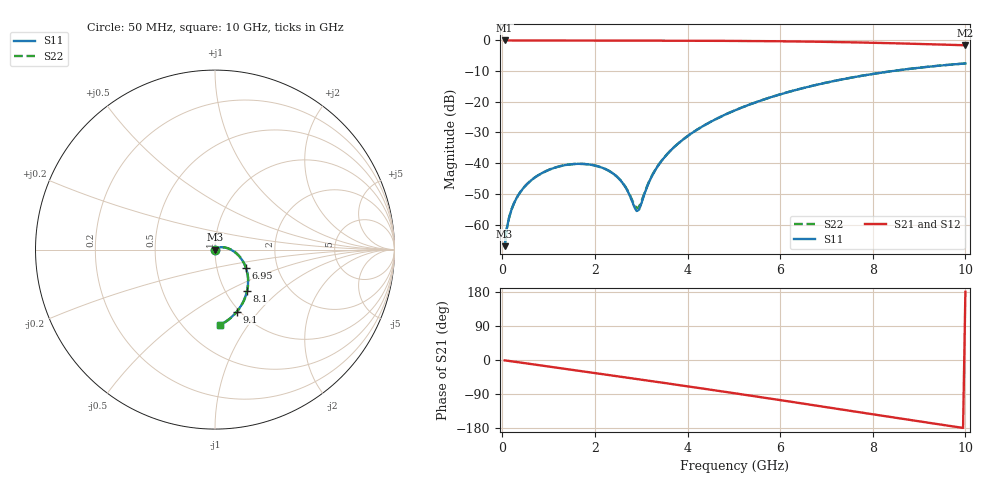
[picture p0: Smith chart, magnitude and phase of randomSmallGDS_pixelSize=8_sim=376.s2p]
! freq	dB(S11)	phase(S11)	dB(S12)	phase(S12)
!  dB(S21)	phase(S21)	dB(S22)	phase(S22)
!S-par simulation data
#  GHz  S  DB  R 50
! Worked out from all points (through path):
!   200 points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, 50 MHz to 10 GHz, reference 50 ohm
!   highest |S21| = 0.00 dB at 50 MHz (marker M1); lowest = -1.6 dB at 10 GHz (marker M2)
!   group delay of S21, straight-line fit = 50.2 ps
!   lowest |S11| = -67.1 dB at 50 MHz (marker M3), VSWR 1.00, Z = 50 - j0.0443 ohm
!   |S11| at or under -10 dB: start of sweep to 8.413 GHz
!   |S22| runs from -67.1 to -7.5 dB; largest |S21 - S12| = 0
!   S11 on the Smith chart (normalised r, x): 50 MHz: 1.00, -0.00; 6.95 GHz: 1.38, -0.30; 8.1 GHz: 1.25, -0.64; 9.1 GHz: 0.97, -0.78; 10 GHz: 0.73, -0.75
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0.05  -67.06 -86.9  -0.00 -0.9  -0.00 -0.9  -67.06 -86.9
0.1  -61.06 -89.9  -0.00 -1.7  -0.00 -1.7  -61.06 -89.9
0.2  -55.08 -92.8  -0.00 -3.5  -0.00 -3.5  -55.08 -92.8
0.35  -50.31 -96.1  -0.01 -6.1  -0.01 -6.1  -50.31 -96.1
0.5  -47.35 -99.1  -0.01 -8.7  -0.01 -8.7  -47.35 -99.2
1.05  -41.91 -109.9  -0.02 -18.1  -0.02 -18.1  -41.91 -110.1
1.75  -40.25 -124.3  -0.03 -30.2  -0.03 -30.2  -40.25 -124.7
2.15  -41.45 -133.8  -0.04 -37.1  -0.04 -37.1  -41.44 -134.6
2.45  -44.07 -143.6  -0.05 -42.3  -0.05 -42.3  -44.04 -144.8
2.65  -47.59 -155.1  -0.05 -45.7  -0.05 -45.7  -47.49 -157.2
2.9  -55.59 142.0  -0.06 -50.1  -0.06 -50.1  -54.68 140.6
2.95  -55.22 113.7  -0.06 -51.0  -0.06 -51.0  -54.31 114.9
3.15  -46.84 58.8  -0.06 -54.5  -0.06 -54.5  -46.64 61.4
3.4  -40.05 42.7  -0.07 -58.9  -0.07 -58.9  -39.99 44.2
4.05  -30.66 24.8  -0.09 -70.4  -0.09 -70.4  -30.64 25.5
5.05  -22.61 4.8  -0.16 -88.3  -0.16 -88.3  -22.61 5.2
6.7  -14.76 -26.4  -0.39 -118.8  -0.39 -118.8  -14.76 -26.1
6.95  -13.90 -31.1  -0.45 -123.5  -0.45 -123.5  -13.89 -30.8
8.1  -10.69 -52.5  -0.78 -145.1  -0.78 -145.1  -10.68 -52.2
8.35  -10.13 -57.1  -0.87 -149.8  -0.87 -149.8  -10.13 -56.8
9.1  -8.73 -70.6  -1.17 -163.7  -1.17 -163.7  -8.72 -70.4
10  -7.50 -86.5  -1.57 179.9  -1.57 179.9  -7.50 -86.2
